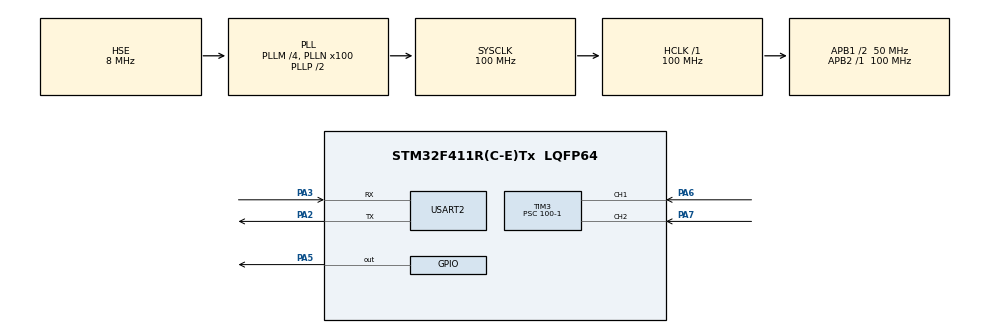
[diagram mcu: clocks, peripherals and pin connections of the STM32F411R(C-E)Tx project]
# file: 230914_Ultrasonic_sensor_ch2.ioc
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Mcu.Family=STM32F4
Mcu.Name=STM32F411R(C-E)Tx
Mcu.Package=LQFP64
NVIC.PriorityGroup=NVIC_PRIORITYGROUP_4
NVIC.TIM3_IRQn=true\:0\:0\:false\:false\:true\:true\:true\:true
NVIC.USART2_IRQn=true\:0\:0\:false\:false\:true\:true\:true\:true
PA13.Mode=Serial_Wire
PA13.Signal=SYS_JTMS-SWDIO
PA14.Mode=Serial_Wire
PA14.Signal=SYS_JTCK-SWCLK
PA2.Mode=Asynchronous
PA2.Signal=USART2_TX
PA3.Mode=Asynchronous
PA3.Signal=USART2_RX
PA5.Signal=GPIO_Output
PA6.Signal=S_TIM3_CH1
PA7.Signal=S_TIM3_CH2
PH0\ -\ OSC_IN.Mode=HSE-External-Oscillator
PH0\ -\ OSC_IN.Signal=RCC_OSC_IN
PH1\ -\ OSC_OUT.Mode=HSE-External-Oscillator
PH1\ -\ OSC_OUT.Signal=RCC_OSC_OUT
ProjectManager.HeapSize=0x200
ProjectManager.StackSize=0x400
ProjectManager.TargetToolchain=STM32CubeIDE
RCC.48MHZClocksFreq_Value=50000000
RCC.AHBFreq_Value=100000000
RCC.APB1CLKDivider=RCC_HCLK_DIV2
RCC.APB1Freq_Value=50000000
RCC.APB1TimFreq_Value=100000000
RCC.APB2Freq_Value=100000000
RCC.APB2TimFreq_Value=100000000
RCC.CortexFreq_Value=100000000
RCC.HCLKFreq_Value=100000000
RCC.HSE_VALUE=8000000
RCC.HSI_VALUE=16000000
RCC.LSE_VALUE=32768
RCC.PLLM=4
RCC.PLLN=100
RCC.PLLSourceVirtual=RCC_PLLSOURCE_HSE
RCC.SYSCLKFreq_VALUE=100000000
RCC.SYSCLKSource=RCC_SYSCLKSOURCE_PLLCLK
RCC.VCOOutputFreq_Value=200000000
SH.S_TIM3_CH1.0=TIM3_CH1,Input_Capture1_from_TI1
SH.S_TIM3_CH2.0=TIM3_CH2,Input_Capture2_from_TI2
TIM3.Channel-Input_Capture1_from_TI1=TIM_CHANNEL_1
TIM3.Channel-Input_Capture2_from_TI2=TIM_CHANNEL_2
TIM3.ICPolarity_CH2=TIM_INPUTCHANNELPOLARITY_FALLING
TIM3.Prescaler=100-1
USART2.VirtualMode=VM_ASYNC
VP_TIM3_VS_ClockSourceINT.Mode=Internal
board=custom

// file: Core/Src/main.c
/* USER CODE BEGIN Header */
/**
  ******************************************************************************
  * @file           : main.c
  * @brief          : Main program body
  ******************************************************************************
  * @attention
  *
  * Copyright (c) 2023 STMicroelectronics.
  * All rights reserved.
  *
  * This software is licensed under terms that can be found in the LICENSE file
  * in the root directory of this software component.
  * If no LICENSE file comes with this software, it is provided AS-IS.
  *
  ******************************************************************************
  */
/* USER CODE END Header */
#include "main.h"
#include "tim.h"
#include "usart.h"
#include "gpio.h"

/* USER CODE BEGIN Includes */

#include "stdio.h"
#include "delay.h"

/* USER CODE END Includes */

/* USER CODE BEGIN PD */

#define TRIG_PORT   GPIOA
#define TRIG_PIN    GPIO_PIN_5

/* USER CODE END PD */

/* USER CODE BEGIN PM */

// for using printf in stm
#ifdef __GNUC__
  /* With GCC, small printf (option LD Linker->Libraries->Small printf
     set to 'Yes') calls __io_putchar() */
  #define PUTCHAR_PROTOTYPE int __io_putchar(int ch)
#else
  #define PUTCHAR_PROTOTYPE int fputc(int ch, FILE *f)
#endif /* __GNUC__ */
PUTCHAR_PROTOTYPE
{
  /* Place your implementation of fputc here */
  /* e.g. write a character to the EVAL_COM1 and Loop until the end of transmission */
  HAL_UART_Transmit(&huart2, (uint8_t *)&ch, 1, 0xFFFF);

  return ch;
}

/* USER CODE END PM */

/* USER CODE BEGIN PV */

uint32_t INC_Value1 = 0;
uint32_t INC_Value2 = 0;
uint32_t echoTime   = 0;
uint8_t captureflag = 0;
uint8_t distance    = 0;

/* USER CODE END PV */

void SystemClock_Config(void);
/* USER CODE BEGIN PFP */

void HAL_TIM_IC_CaptureCallback(TIM_HandleTypeDef *htim)
{
  if(htim->Channel == HAL_TIM_ACTIVE_CHANNEL_1){
    INC_Value1 = HAL_TIM_ReadCapturedValue(htim, TIM_CHANNEL_1);
    __HAL_TIM_DISABLE_IT(&htim3, TIM_IT_CC1);
  }

  if(htim->Channel == HAL_TIM_ACTIVE_CHANNEL_2){
    INC_Value2 = HAL_TIM_ReadCapturedValue(htim, TIM_CHANNEL_2);
    __HAL_TIM_SET_COUNTER(htim,0);

    __HAL_TIM_DISABLE_IT(&htim3, TIM_IT_CC2);
  }

  if(INC_Value2 >= INC_Value1){
    echoTime = INC_Value2-INC_Value1;
  }
  else if(INC_Value2 <= INC_Value1){
    echoTime = (0xffff - INC_Value1) + INC_Value2;
  }

  distance = echoTime*0.034/2;  // cm
  //distance = echoTime/58;    // cm
}

void HCSR04_read(void)
{
  HAL_GPIO_WritePin(TRIG_PORT, TRIG_PIN, GPIO_PIN_SET);
  delay_us(10);
  HAL_GPIO_WritePin(TRIG_PORT, TRIG_PIN, GPIO_PIN_RESET);

  __HAL_TIM_ENABLE_IT(&htim3, TIM_IT_CC1);
  __HAL_TIM_ENABLE_IT(&htim3, TIM_IT_CC2);
}

/* USER CODE END PFP */

int main(void)
{

  /* MCU Configuration--------------------------------------------------------*/

  /* Reset of all peripherals, Initializes the Flash interface and the Systick. */
  HAL_Init();

  /* Configure the system clock */
  SystemClock_Config();

  /* Initialize all configured peripherals */
  MX_GPIO_Init();
  MX_TIM3_Init();
  MX_USART2_UART_Init();
  /* USER CODE BEGIN 2 */

  HAL_TIM_IC_Start_IT(&htim3, TIM_CHANNEL_1);
  HAL_TIM_IC_Start_IT(&htim3, TIM_CHANNEL_2);

  /* USER CODE END 2 */

  /* Infinite loop */
  while (1)
  {

    /* USER CODE BEGIN 3 */

    HCSR04_read();
    printf("%d cm\r\n", distance);
    HAL_Delay(80);
  }

  /* USER CODE END 3 */
}

void SystemClock_Config(void)
{
  RCC_OscInitTypeDef RCC_OscInitStruct = {0};
  RCC_ClkInitTypeDef RCC_ClkInitStruct = {0};

  /** Configure the main internal regulator output voltage
  */
  __HAL_RCC_PWR_CLK_ENABLE();
  __HAL_PWR_VOLTAGESCALING_CONFIG(PWR_REGULATOR_VOLTAGE_SCALE1);

  /** Initializes the RCC Oscillators according to the specified parameters
  * in the RCC_OscInitTypeDef structure.
  */
  RCC_OscInitStruct.OscillatorType = RCC_OSCILLATORTYPE_HSE;
  RCC_OscInitStruct.HSEState = RCC_HSE_ON;
  RCC_OscInitStruct.PLL.PLLState = RCC_PLL_ON;
  RCC_OscInitStruct.PLL.PLLSource = RCC_PLLSOURCE_HSE;
  RCC_OscInitStruct.PLL.PLLM = 4;
  RCC_OscInitStruct.PLL.PLLN = 100;
  RCC_OscInitStruct.PLL.PLLP = RCC_PLLP_DIV2;
  RCC_OscInitStruct.PLL.PLLQ = 4;
  if (HAL_RCC_OscConfig(&RCC_OscInitStruct) != HAL_OK)
  {
    Error_Handler();
  }

  /** Initializes the CPU, AHB and APB buses clocks
  */
  RCC_ClkInitStruct.ClockType = RCC_CLOCKTYPE_HCLK|RCC_CLOCKTYPE_SYSCLK
                              |RCC_CLOCKTYPE_PCLK1|RCC_CLOCKTYPE_PCLK2;
  RCC_ClkInitStruct.SYSCLKSource = RCC_SYSCLKSOURCE_PLLCLK;
  RCC_ClkInitStruct.AHBCLKDivider = RCC_SYSCLK_DIV1;
  RCC_ClkInitStruct.APB1CLKDivider = RCC_HCLK_DIV2;
  RCC_ClkInitStruct.APB2CLKDivider = RCC_HCLK_DIV1;

  if (HAL_RCC_ClockConfig(&RCC_ClkInitStruct, FLASH_LATENCY_3) != HAL_OK)
  {
    Error_Handler();
  }
}

void Error_Handler(void)
{
  __disable_irq();
  while (1)
  {
  }
}
